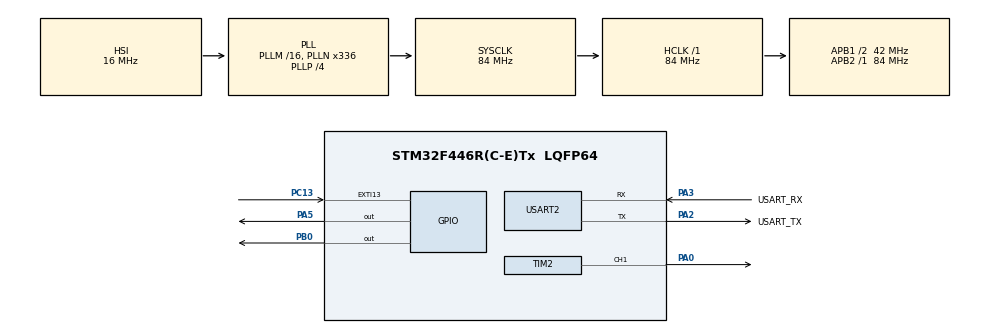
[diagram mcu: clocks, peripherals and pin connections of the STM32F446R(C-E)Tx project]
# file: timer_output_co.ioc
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Mcu.Family=STM32F4
Mcu.Name=STM32F446R(C-E)Tx
Mcu.Package=LQFP64
NUCLEO-F446RE.BUTTON=1
NUCLEO-F446RE.LD1=true
NVIC.EXTI15_10_IRQn=true\:0\:0\:false\:false\:true\:false\:true\:true
NVIC.PriorityGroup=NVIC_PRIORITYGROUP_0
NVIC.TIM2_IRQn=true\:0\:0\:false\:false\:true\:true\:true\:true
NVIC.TIM6_DAC_IRQn=true\:0\:0\:false\:false\:true\:true\:true\:true
PA0-WKUP.Signal=S_TIM2_CH1_ETR
PA13.GPIO_Label=TMS
PA13.Signal=SYS_JTMS-SWDIO
PA14.GPIO_Label=TCK
PA14.Signal=SYS_JTCK-SWCLK
PA2.GPIO_Label=USART_TX
PA2.Mode=Asynchronous
PA2.Signal=USART2_TX
PA3.GPIO_Label=USART_RX
PA3.Mode=Asynchronous
PA3.Signal=USART2_RX
PA5.Signal=GPIO_Output
PB0.Signal=GPIO_Output
PB3.GPIO_Label=SWO
PB3.Signal=SYS_JTDO-SWO
PC13.Signal=GPXTI13
PC14-OSC32_IN.Signal=RCC_OSC32_IN
PC15-OSC32_OUT.Signal=RCC_OSC32_OUT
PH0-OSC_IN.Signal=RCC_OSC_IN
PH1-OSC_OUT.Signal=RCC_OSC_OUT
ProjectManager.HeapSize=0x200
ProjectManager.StackSize=0x400
ProjectManager.TargetToolchain=STM32CubeIDE
RCC.AHBFreq_Value=84000000
RCC.APB1CLKDivider=RCC_HCLK_DIV2
RCC.APB1Freq_Value=42000000
RCC.APB1TimFreq_Value=84000000
RCC.APB2Freq_Value=84000000
RCC.APB2TimFreq_Value=84000000
RCC.CortexFreq_Value=84000000
RCC.FLatency-AdvancedSettings=FLASH_LATENCY_2
RCC.HCLKFreq_Value=84000000
RCC.HSE_VALUE=8000000
RCC.HSI_VALUE=16000000
RCC.LSE_VALUE=32768
RCC.PLLN=336
RCC.PLLP=RCC_PLLP_DIV4
RCC.SYSCLKFreq_VALUE=84000000
RCC.SYSCLKSource=RCC_SYSCLKSOURCE_PLLCLK
RCC.USBFreq_Value=168000000
RCC.VCOOutputFreq_Value=336000000
SH.S_TIM2_CH1_ETR.0=TIM2_CH1,Output Compare1 CH1
TIM2.Channel-Output\ Compare1\ CH1=TIM_CHANNEL_1
TIM2.Prescaler=83
TIM6.AutoReloadPreload=TIM_AUTORELOAD_PRELOAD_ENABLE
TIM6.Period=499
TIM6.Prescaler=83
USART2.VirtualMode=VM_ASYNC
VP_NUCLEO-F446RE_VS_BSP_COMMON.Mode=COMMON
VP_TIM2_VS_ClockSourceINT.Mode=Internal
VP_TIM6_VS_ClockSourceINT.Mode=Enable_Timer
board=NUCLEO-F446RE

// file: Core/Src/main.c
/* USER CODE BEGIN Header */
/**
  * @file           : main.c
  * @brief          : Génération d'intervalles précis par Timer Output Compare
  * @project        : timer_output_co
  * @author         : Oponou KOKOLA
  *
  * @details        :
  *   1. TIM2 en mode Output Compare (Canal 1).
  *   2. À chaque correspondance CNT == CCR1, une interruption appelle
  *      HAL_TIM_OC_DelayElapsedCallback().
  *   3. Dans le callback, on avance CCR1 de 500 000 ticks (500 ms) et on
  *      bascule la LED externe (PB0) ainsi que LD2.
  *   4. Un message est envoyé sur le terminal (USART2) depuis la boucle principale.
  *
  * Calcul du temps :
  *   Horloge TIM2 = 84 MHz ; PSC = 83 -> 84 MHz / 84 = 1 MHz -> 1 tick = 1 µs
  *   500 000 ticks = 500 ms -> la LED change d'état toutes les 500 ms
  *   Période complète (allumée + éteinte) = 1 s -> clignotement à 1 Hz
  ******************************************************************************
  */
/* USER CODE END Header */
#include "main.h"

/* USER CODE BEGIN PD */
#define OC_INTERVAL_US   500000U   /* Intervalle entre deux matches : 500 ms */
/* USER CODE END PD */

TIM_HandleTypeDef htim2;
TIM_HandleTypeDef htim6;
UART_HandleTypeDef huart2;

/* USER CODE BEGIN PV */
/* Drapeau mis à 1 par l'interruption, remis à 0 par la boucle principale.
 * */
volatile uint8_t tick = 0;
/* USER CODE END PV */

void SystemClock_Config(void);
static void MX_GPIO_Init(void);
static void MX_TIM2_Init(void);
static void MX_TIM6_Init(void);
static void MX_USART2_UART_Init(void);

int main(void)
{
  HAL_Init();
  SystemClock_Config();

  MX_GPIO_Init();
  MX_TIM2_Init();
  MX_TIM6_Init();
  MX_USART2_UART_Init();

  /* USER CODE BEGIN 2 */

  BSP_LED_Init(LED2);

  __HAL_TIM_SET_COMPARE(&htim2, TIM_CHANNEL_1, OC_INTERVAL_US);

  HAL_TIM_OC_Start_IT(&htim2, TIM_CHANNEL_1);   // démarre TIM2 + active l'interruption

  /* USER CODE END 2 */

  /* Infinite loop */
  while (1)
  {
    /* USER CODE BEGIN 3 */
    if (tick)                      /* Un match vient d'avoir lieu */
    {
      tick = 0;                    /* On remet le drapeau à zéro */

      /* L'envoi UART  */
      char msg[] = "Toggle LED PB0 (500 ms)\r\n";
      HAL_UART_Transmit(&huart2, (uint8_t*)msg, sizeof(msg) - 1, 100);
    }
    /* USER CODE END 3 */
  }
}

void SystemClock_Config(void)
{
  RCC_OscInitTypeDef RCC_OscInitStruct = {0};
  RCC_ClkInitTypeDef RCC_ClkInitStruct = {0};

  __HAL_RCC_PWR_CLK_ENABLE();
  __HAL_PWR_VOLTAGESCALING_CONFIG(PWR_REGULATOR_VOLTAGE_SCALE3);

  RCC_OscInitStruct.OscillatorType = RCC_OSCILLATORTYPE_HSI;
  RCC_OscInitStruct.HSIState = RCC_HSI_ON;
  RCC_OscInitStruct.HSICalibrationValue = RCC_HSICALIBRATION_DEFAULT;
  RCC_OscInitStruct.PLL.PLLState = RCC_PLL_ON;
  RCC_OscInitStruct.PLL.PLLSource = RCC_PLLSOURCE_HSI;
  RCC_OscInitStruct.PLL.PLLM = 16;
  RCC_OscInitStruct.PLL.PLLN = 336;
  RCC_OscInitStruct.PLL.PLLP = RCC_PLLP_DIV4;
  RCC_OscInitStruct.PLL.PLLQ = 2;
  RCC_OscInitStruct.PLL.PLLR = 2;
  if (HAL_RCC_OscConfig(&RCC_OscInitStruct) != HAL_OK)
  {
    Error_Handler();
  }

  RCC_ClkInitStruct.ClockType = RCC_CLOCKTYPE_HCLK|RCC_CLOCKTYPE_SYSCLK
                              |RCC_CLOCKTYPE_PCLK1|RCC_CLOCKTYPE_PCLK2;
  RCC_ClkInitStruct.SYSCLKSource = RCC_SYSCLKSOURCE_PLLCLK;
  RCC_ClkInitStruct.AHBCLKDivider = RCC_SYSCLK_DIV1;
  RCC_ClkInitStruct.APB1CLKDivider = RCC_HCLK_DIV2;
  RCC_ClkInitStruct.APB2CLKDivider = RCC_HCLK_DIV1;

  if (HAL_RCC_ClockConfig(&RCC_ClkInitStruct, FLASH_LATENCY_2) != HAL_OK)
  {
    Error_Handler();
  }
}

static void MX_TIM2_Init(void)
{
  TIM_ClockConfigTypeDef sClockSourceConfig = {0};
  TIM_MasterConfigTypeDef sMasterConfig = {0};
  TIM_OC_InitTypeDef sConfigOC = {0};

  htim2.Instance = TIM2;
  htim2.Init.Prescaler = 83;
  htim2.Init.CounterMode = TIM_COUNTERMODE_UP;
  htim2.Init.Period = 4294967295;
  htim2.Init.ClockDivision = TIM_CLOCKDIVISION_DIV1;
  htim2.Init.AutoReloadPreload = TIM_AUTORELOAD_PRELOAD_DISABLE;
  if (HAL_TIM_Base_Init(&htim2) != HAL_OK)
  {
    Error_Handler();
  }
  sClockSourceConfig.ClockSource = TIM_CLOCKSOURCE_INTERNAL;
  if (HAL_TIM_ConfigClockSource(&htim2, &sClockSourceConfig) != HAL_OK)
  {
    Error_Handler();
  }
  if (HAL_TIM_OC_Init(&htim2) != HAL_OK)
  {
    Error_Handler();
  }
  sMasterConfig.MasterOutputTrigger = TIM_TRGO_RESET;
  sMasterConfig.MasterSlaveMode = TIM_MASTERSLAVEMODE_DISABLE;
  if (HAL_TIMEx_MasterConfigSynchronization(&htim2, &sMasterConfig) != HAL_OK)
  {
    Error_Handler();
  }

  sConfigOC.OCMode = TIM_OCMODE_TIMING;
  sConfigOC.Pulse = 0;
  sConfigOC.OCPolarity = TIM_OCPOLARITY_HIGH;
  sConfigOC.OCFastMode = TIM_OCFAST_DISABLE;
  if (HAL_TIM_OC_ConfigChannel(&htim2, &sConfigOC, TIM_CHANNEL_1) != HAL_OK)
  {
    Error_Handler();
  }
  HAL_TIM_MspPostInit(&htim2);
}

static void MX_TIM6_Init(void)
{
  TIM_MasterConfigTypeDef sMasterConfig = {0};

  htim6.Instance = TIM6;
  htim6.Init.Prescaler = 83;
  htim6.Init.CounterMode = TIM_COUNTERMODE_UP;
  htim6.Init.Period = 499;
  htim6.Init.AutoReloadPreload = TIM_AUTORELOAD_PRELOAD_ENABLE;
  if (HAL_TIM_Base_Init(&htim6) != HAL_OK)
  {
    Error_Handler();
  }
  sMasterConfig.MasterOutputTrigger = TIM_TRGO_RESET;
  sMasterConfig.MasterSlaveMode = TIM_MASTERSLAVEMODE_DISABLE;
  if (HAL_TIMEx_MasterConfigSynchronization(&htim6, &sMasterConfig) != HAL_OK)
  {
    Error_Handler();
  }
}

static void MX_USART2_UART_Init(void)
{
  huart2.Instance = USART2;
  huart2.Init.BaudRate = 115200;
  huart2.Init.WordLength = UART_WORDLENGTH_8B;
  huart2.Init.StopBits = UART_STOPBITS_1;
  huart2.Init.Parity = UART_PARITY_NONE;
  huart2.Init.Mode = UART_MODE_TX_RX;
  huart2.Init.HwFlowCtl = UART_HWCONTROL_NONE;
  huart2.Init.OverSampling = UART_OVERSAMPLING_16;
  if (HAL_UART_Init(&huart2) != HAL_OK)
  {
    Error_Handler();
  }
}

static void MX_GPIO_Init(void)
{
  GPIO_InitTypeDef GPIO_InitStruct = {0};

  __HAL_RCC_GPIOC_CLK_ENABLE();
  __HAL_RCC_GPIOH_CLK_ENABLE();
  __HAL_RCC_GPIOA_CLK_ENABLE();
  __HAL_RCC_GPIOB_CLK_ENABLE();

  HAL_GPIO_WritePin(GPIOB, GPIO_PIN_0, GPIO_PIN_RESET);

  GPIO_InitStruct.Pin = GPIO_PIN_0;
  GPIO_InitStruct.Mode = GPIO_MODE_OUTPUT_PP;
  GPIO_InitStruct.Pull = GPIO_NOPULL;
  GPIO_InitStruct.Speed = GPIO_SPEED_FREQ_LOW;
  HAL_GPIO_Init(GPIOB, &GPIO_InitStruct);
}

/* USER CODE BEGIN 4 */
/**
  * @brief  Appelé automatiquement par le HAL à chaque match CNT == CCR1.
  *         S'exécute en interruption : on y reste le plus court possible.
  */
void HAL_TIM_OC_DelayElapsedCallback(TIM_HandleTypeDef *htim)
{
  /* On vérifie que c'est bien TIM2, canal 1, qui a déclenché l'interruption */
  if (htim->Instance == TIM2 &&
      htim->Channel == HAL_TIM_ACTIVE_CHANNEL_1)
  {
    /*  Programmer le prochain match : CCR1 actuel + 500 ms.*/
    uint32_t ccr = __HAL_TIM_GET_COMPARE(htim, TIM_CHANNEL_1);
    __HAL_TIM_SET_COMPARE(htim, TIM_CHANNEL_1, ccr + OC_INTERVAL_US);

    /*on bascule la LED  */
    HAL_GPIO_TogglePin(GPIOB, GPIO_PIN_0);
    BSP_LED_Toggle(LED2);

    /* 3. Prévenir la boucle principale qu'il y a un message à afficher */
    tick = 1;
  }
}
/* USER CODE END 4 */

/**
  * @brief  Appelé en cas d'erreur : on bloque ici.
  */
void Error_Handler(void)
{
  __disable_irq();
  while (1)
  {
  }
}
